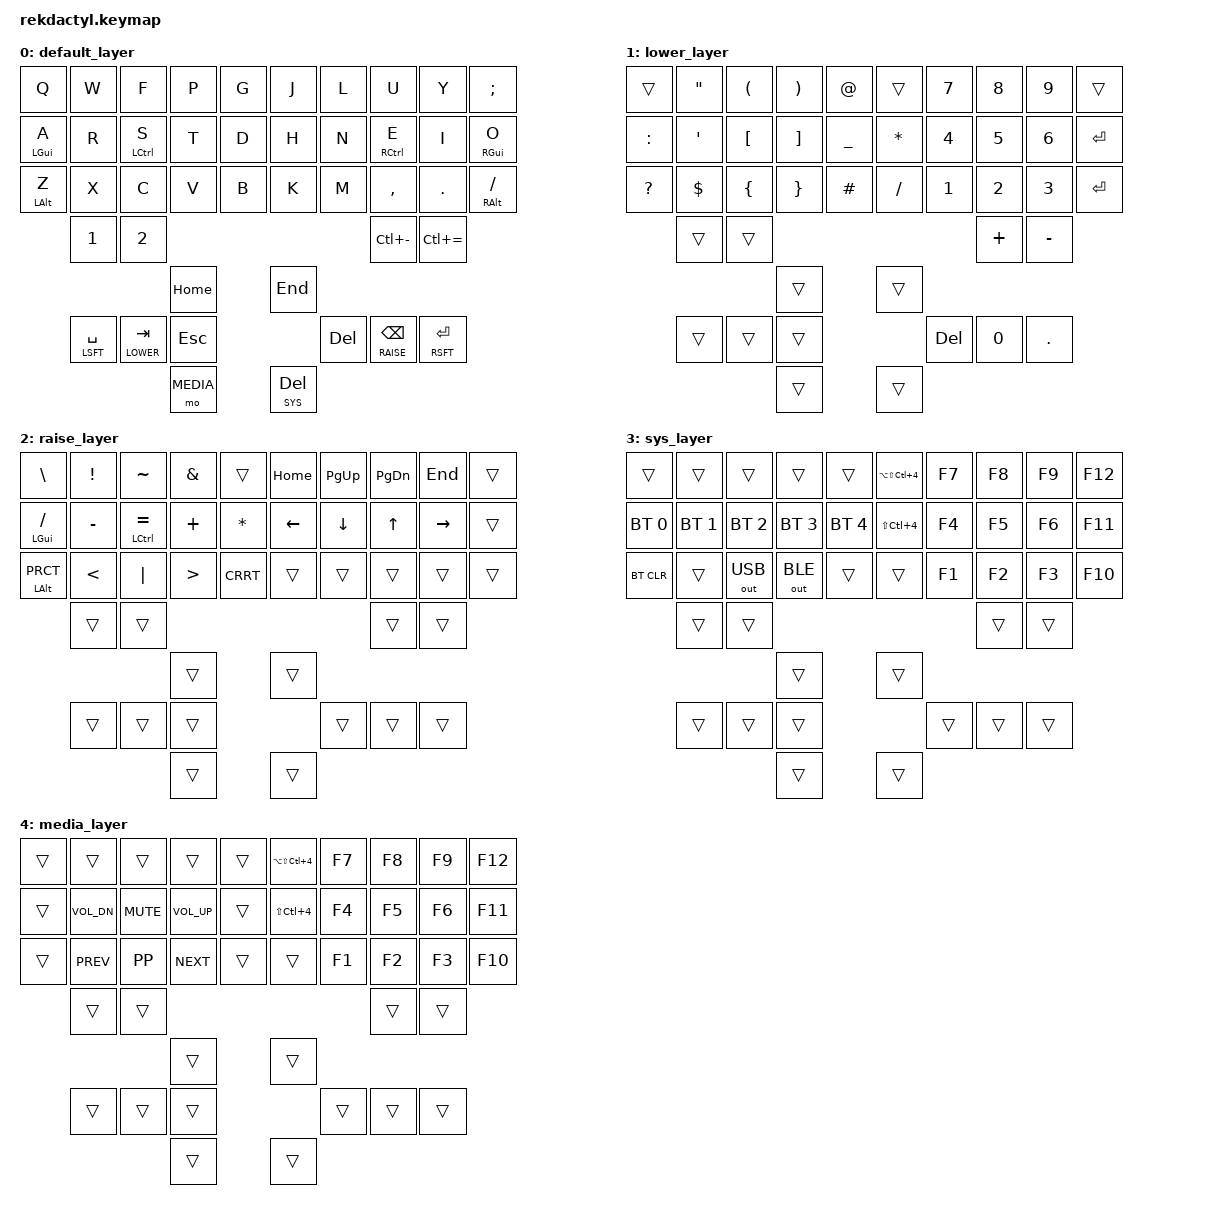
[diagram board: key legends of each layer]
/*
 * Copyright (c) 2020 The ZMK Contributors
 *
 * SPDX-License-Identifier: MIT
 */

 /*
  *  west build -b rekdactyl -- -DSHIELD=rekdactyl_left -DZMK_CONFIG="/Users/rishi/Documents/GitHub/zmk-config/config"
  */

#include <behaviors.dtsi>
#include <dt-bindings/zmk/keys.h>
#include <dt-bindings/zmk/bt.h>
#include <dt-bindings/zmk/outputs.h>

#define COLEMAK 0
#define LOWER 1
#define RAISE 2
#define SYS 3
#define MEDIA 4

/ {
        behaviors {
            hm: homerow_mods {
                compatible = "zmk,behavior-hold-tap";
                label = "HOMEROW_MODS";
                #binding-cells = <2>;
                tapping_term_ms = <200>;
                flavor = "tap-preferred";
                bindings = <&kp>, <&kp>;
            };
        };
        keymap {
                compatible = "zmk,keymap";

                default_layer {

                        bindings = <
   &kp Q      &kp W  &kp F       &kp P &kp G      &kp J &kp L  &kp U         &kp Y   &kp SCLN 
   &hm LGUI A &kp R  &hm LCTRL S &kp T &kp D      &kp H &kp N  &hm RCTRL E   &kp I   &hm RGUI O
   &hm LALT Z &kp X  &kp C       &kp V &kp B      &kp K &kp M  &kp CMMA      &kp DOT &hm RALT FSLH
              &kp N1 &kp N2                                    &kp LC(MINUS) &kp LC(EQL)
                                    &kp HOME        &kp END
          &hm LSFT SPC &lt LOWER TAB &kp ESC        &kp DEL &lt RAISE BKSP &hm RSFT RET  
                                    &mo MEDIA       &lt SYS DEL
                        >;
                };

                lower_layer {
                        bindings = <
   &trans          &kp DQT    &kp LPAR    &kp RPAR      &kp AT            &trans    &kp N7 &kp N8 &kp N9  &trans
   &kp COLON       &kp SQT    &kp LBKT    &kp RBKT      &kp UNDER         &kp STAR  &kp N4 &kp N5 &kp N6  &kp RET
   &kp QMARK       &kp DLLR   &kp LBRC    &kp RBRC      &kp HASH          &kp FSLH  &kp N1 &kp N2 &kp N3  &kp RET
                   &trans     &trans                                                     &kp PLUS &kp MINUS
                                                        &trans             &trans
                                &trans     &trans       &trans             &kp DEL  &kp N0 &kp DOT
                                                        &trans             &trans
                        >;
                };
                
                raise_layer {
                        bindings = <
   &kp BSLH       &kp EXCL  &kp TILDE     &kp AMPS  &trans        &kp HOME  &kp PG_UP &kp PG_DN &kp END    &trans
   &hm LGUI FSLH  &kp MINUS &hm LCTL EQL  &kp PLUS  &kp STAR      &kp LEFT  &kp DOWN  &kp UP    &kp RIGHT  &trans
   &hm LALT PRCT  &kp LT    &kp PIPE      &kp GT    &kp CRRT      &trans    &trans    &trans    &trans     &trans
                  &trans    &trans                                                    &trans    &trans
                                                    &trans        &trans
                                     &trans &trans &trans        &trans &trans &trans
                                                    &trans        &trans

                        >;
                };

                sys_layer {
                        bindings = <
   &trans       &trans       &trans       &trans       &trans            &kp LA(LS(LC(N4)))    &kp F7   &kp F8     &kp F9  &kp F12    
   &bt BT_SEL 0 &bt BT_SEL 1 &bt BT_SEL 2 &bt BT_SEL 3 &bt BT_SEL 4      &kp LS(LC(N4))    &kp F4   &kp F5     &kp F6  &kp F11
   &bt BT_CLR   &trans       &out OUT_USB &out OUT_BLE &trans            &trans    &kp F1   &kp F2     &kp F3  &kp F10
                &trans    &trans                                                    &trans    &trans
                                                    &trans        &trans
                                     &trans  &trans &trans        &trans &trans &trans
                                                    &trans        &trans
                        >;
                };

                media_layer {
                        bindings = <
   &trans       &trans       &trans       &trans       &trans      &kp LA(LS(LC(N4)))    &kp F7   &kp F8     &kp F9  &kp F12    
   &trans       &kp K_VOL_DN &kp K_MUTE   &kp K_VOL_UP &trans      &kp LS(LC(N4))    &kp F4   &kp F5     &kp F6  &kp F11
   &trans       &kp K_PREV   &kp K_PP     &kp K_NEXT   &trans      &trans    &kp F1   &kp F2     &kp F3  &kp F10
                &trans    &trans                                                    &trans    &trans
                                                    &trans        &trans
                                     &trans &trans &trans        &trans &trans &trans
                                                    &trans        &trans
                        >;
                };
            };

};

